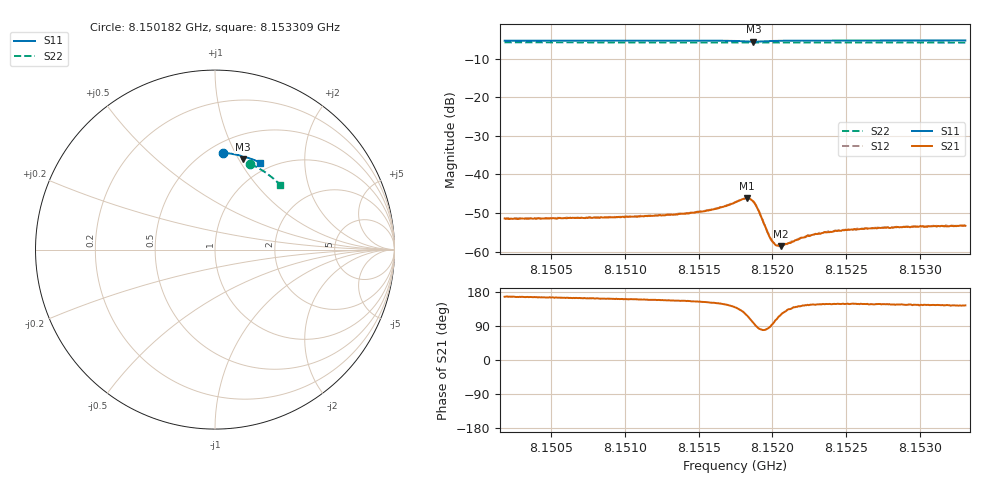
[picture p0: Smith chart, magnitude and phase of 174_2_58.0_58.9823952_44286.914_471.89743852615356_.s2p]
#  HZ  S  RI  R  50.00
! Rohde & Schwarz Vector Network Analyzer
! Rohde-Schwarz,ZNB20-2Port,1311601062101988,3.16
! Created: UTC 3/21/2024, 12:58:03 AM
! freq[Hz]  re:S11  im:S11  re:S21  im:S21  re:S12  im:S12  re:S22  im:S22
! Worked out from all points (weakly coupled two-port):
!   401 points, 8.150182 GHz to 8.153309 GHz, reference 50 ohm
!   highest |S21| = -46.17 dB at 8.151824 GHz (marker M1); lowest = -58.5 dB at 8.152059 GHz (marker M2)
!   lowest |S11| = -5.6 dB at 8.151871 GHz (marker M3), VSWR 3.21, Z = 37.4 + j51.9 ohm
!   |S11| at or under -10 dB: nowhere
!   |S22| runs from -5.8 to -5.8 dB; largest |S21 - S12| = 0.00011
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8.1501824e9  0.044 0.5389  -0.00262 0.000606  -0.00262 0.000616  0.1976 0.4762
8.1507061e9  0.0809 0.5356  -0.00264 0.000796  -0.00262 0.000852  0.2281 0.4616
8.1512299e9  0.1177 0.5294  -0.00276 0.00108  -0.00273 0.00114  0.2575 0.4451
8.1514175e9  0.1314 0.5261  -0.00286 0.0013  -0.00285 0.00133  0.268 0.4388
8.1515504e9  0.1414 0.5234  -0.00302 0.00155  -0.003 0.0016  0.2751 0.434
8.1516677e9  0.1508 0.5192  -0.00321 0.00206  -0.00321 0.00216  0.2815 0.4298
8.1517459e9  0.157 0.5144  -0.00327 0.00284  -0.00328 0.00289  0.2857 0.4267
8.1517928e9  0.1598 0.5094  -0.003 0.00368  -0.00297 0.00374  0.288 0.4249
8.1518241e9  0.1595 0.5052  -0.00238 0.0043  -0.00236 0.00437  0.2894 0.4237
8.1518475e9  0.1575 0.5028  -0.00156 0.00456  -0.00153 0.00462  0.2905 0.4228
8.151871e9  0.1543 0.5021  -0.000597 0.00439  -0.000531 0.00447  0.2913 0.4219
8.1519022e9  0.151 0.5051  0.000326 0.00351  0.000379 0.00354  0.293 0.4209
8.1519726e9  0.1547 0.5127  0.00017 0.00167  0.0002 0.00169  0.2967 0.4187
8.151996e9  0.157 0.5138  -8.44e-05 0.00139  -4.32e-05 0.00137  0.2981 0.4177
8.1520117e9  0.1588 0.5143  -0.000219 0.00126  -0.000199 0.00127  0.2989 0.4172
8.1520273e9  0.1603 0.5147  -0.000351 0.00115  -0.000331 0.00118  0.2995 0.4166
8.1520586e9  0.1635 0.5148  -0.000588 0.00103  -0.000574 0.00103  0.3013 0.4153
8.1521993e9  0.1756 0.5134  -0.00121 0.000914  -0.00119 0.000922  0.3086 0.4099
8.1522697e9  0.181 0.5119  -0.00137 0.000913  -0.00138 0.000946  0.3122 0.4071
8.1524416e9  0.1935 0.5083  -0.00158 0.000971  -0.00157 0.00104  0.3206 0.4002
8.1527934e9  0.2171 0.4994  -0.00171 0.00109  -0.00175 0.00113  0.3376 0.3853
8.1533094e9  0.2502 0.4846  -0.00175 0.00127  -0.00174 0.00131  0.3611 0.3624
